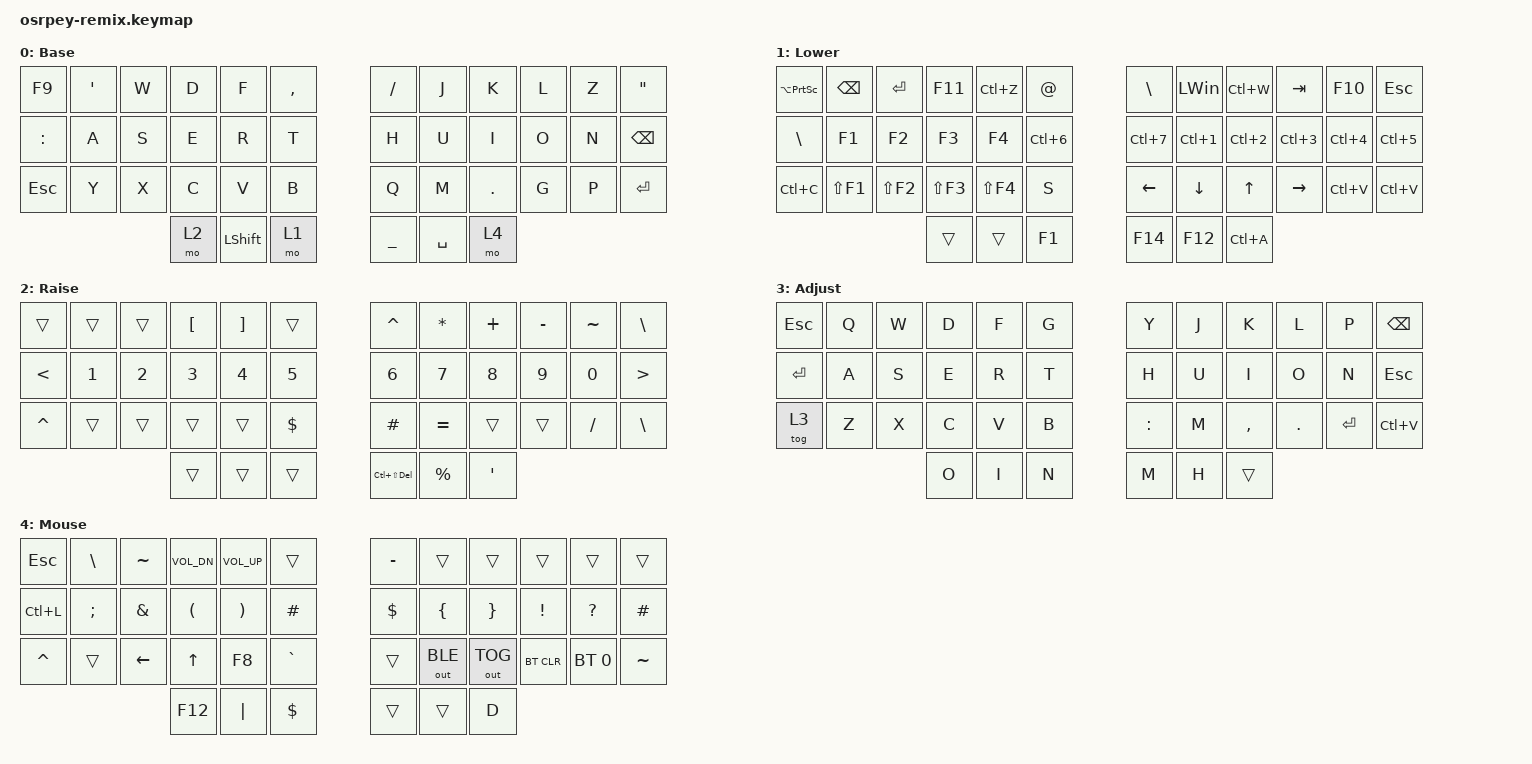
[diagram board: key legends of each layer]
#include <behaviors.dtsi>
#include <dt-bindings/zmk/bt.h>
#include <dt-bindings/zmk/keys.h>
#include <dt-bindings/zmk/outputs.h>

/* ================================
 * LAYER TAP CONFIG
 * HOLD = layer
 * TAP = key
 * VERY FAST BUT USABLE
 * ================================ */
&lt {
    flavor = "hold-preferred";
    tapping-term-ms = <180>;
};

&mt {
    flavor = "balanced";
    tapping-term-ms = <250>;
};

/ {
    combos {
        compatible = "zmk,combos";

        print_screen {
            bindings = <&kp PRINTSCREEN>;
            key-positions = <25 26 27>;
        };

        equal {
            bindings = <&kp EQUAL>;
            key-positions = <18 19>;
        };

        minus2 {
            bindings = <&kp MINUS>;
            key-positions = <17 16>;
        };
    };

    behaviors {
        control_alt_macro: control_alt_macro {
            compatible = "zmk,behavior-macro";
            label = "CONTROL_ALT";
            #binding-cells = <0>;
            bindings = <&kp LCTRL>, <&kp LALT>;
        };

        alt_tab_macro: alt_tab_macro {
            compatible = "zmk,behavior-macro";
            label = "ALT_TAB_MACRO";
            #binding-cells = <0>;
            bindings = <&kp LA(TAB)>;
        };

        shift_space_to_enter: shift_space_to_enter {
            compatible = "zmk,behavior-mod-morph";
            label = "SHIFT_SPACE_TO_ENTER";
            #binding-cells = <0>;
            bindings = <&kp SPACE>, <&kp ENTER>;
            mods = <(MOD_LSFT|MOD_RSFT)>;
        };

        toggle_mouse_layer: toggle_mouse_layer {
            compatible = "zmk,behavior-macro";
            label = "TOGGLE_MOUSE_LAYER";
            #binding-cells = <0>;
            bindings = <&kp F11>, <&tog 4>;
        };
    };

    keymap {
        compatible = "zmk,keymap";

        default_layer {
            label = "Base";
            bindings = <
&kp F9    &kp SINGLE_QUOTE  &kp W  &kp D  &kp F   &kp COMMA   &kp FSLH  &kp J  &kp K   &kp L  &kp Z   &kp DOUBLE_QUOTES
&kp COLON  &kp A  &kp S  &kp E  &kp R   &kp T   &kp H  &kp U  &kp I   &kp O  &kp N   &kp BACKSPACE
&kp ESCAPE  &kp Y  &kp X  &kp C  &kp V   &kp B        &kp Q &kp M &kp DOT &kp G &kp P &kp ENTER
                &mo 2    &kp LSHIFT   &mo 1   &kp UNDER  &kp SPACE   &mo 4
            >;
        };

        lower_layer {
            label = "Lower";
            bindings = <
&kp LA(PRINTSCREEN) &kp BACKSPACE &kp ENTER  &kp F11  &kp LC(Z) &kp AT &kp BACKSLASH &kp LWIN &kp LC(W)  &kp TAB &kp F10 &kp ESCAPE
&kp BACKSLASH  &kp F1 &kp F2 &kp F3 &kp F4 &kp LC(N6) &kp LC(N7) &kp  LC(N1) &kp LC(N2) &kp LC(N3) &kp LC(N4) &kp LC(N5)
&kp LC(C) &kp LS(F1) &kp LS(F2) &kp LS(F3) &kp LS(F4) &kp S &kp LEFT_ARROW &kp DOWN_ARROW &kp UP_ARROW &kp RIGHT_ARROW  &kp LC(V) &kp LC(V)
                    &trans &trans &kp F1 &kp F14 &kp F12 &kp LC(A)
            >;
        };

        raise_layer {
            label = "Raise";
            bindings = <
&trans &trans &trans &kp LEFT_BRACKET &kp RIGHT_BRACKET &trans &kp CARET &kp ASTRK &kp PLUS &kp MINUS &kp TILDE &kp BACKSLASH
&kp LESS_THAN &kp N1 &kp N2 &kp N3 &kp N4 &kp N5 &kp N6 &kp N7 &kp N8 &kp N9 &kp N0 &kp GREATER_THAN
 &kp CARET &trans &trans &trans &trans &kp DOLLAR &kp HASH &kp EQUAL &trans &trans &kp FSLH &kp BACKSLASH
                  &trans   &trans &trans &kp LC(LS(DEL)) &kp PRCNT &kp SINGLE_QUOTE
            >;
        };

        adjust_layer {
            label = "Adjust";
            bindings = <
&kp ESCAPE   &kp Q  &kp W  &kp D  &kp F   &kp G   &kp Y  &kp J  &kp K   &kp L  &kp P   &kp BACKSPACE
&kp ENTER  &kp A  &kp S  &kp E  &kp R   &kp T   &kp H  &kp U  &kp I   &kp O  &kp N   &kp ESCAPE
&tog 3 &kp Z  &kp X  &kp C  &kp V   &kp B        &kp COLON &kp M &kp COMMA &kp DOT &kp ENTER &kp LC(V)
                 &kp O  &kp I &kp N &kp M &kp H &trans
            >;
        };

        mouse_layer {
            label = "Mouse";
            bindings = <
 &kp ESCAPE &kp BACKSLASH &kp TILDE &kp C_VOL_DN &kp C_VOL_UP &trans &kp MINUS &trans &trans &trans &trans &trans
&kp LC(L) &kp SEMI &kp AMPS &kp LPAR &kp RPAR &kp HASH &kp DOLLAR &kp LBRC &kp RBRC &kp EXCLAMATION &kp QMARK &kp HASH
&kp CARET &trans &kp LEFT_ARROW &kp UP_ARROW &kp F8 &kp GRAVE &trans &out OUT_BLE &out OUT_TOG &bt BT_CLR &bt BT_SEL 0 &kp TILDE
                    &kp F12 &kp PIPE &kp DOLLAR &trans &trans &kp D
            >;
        };

    };
};
